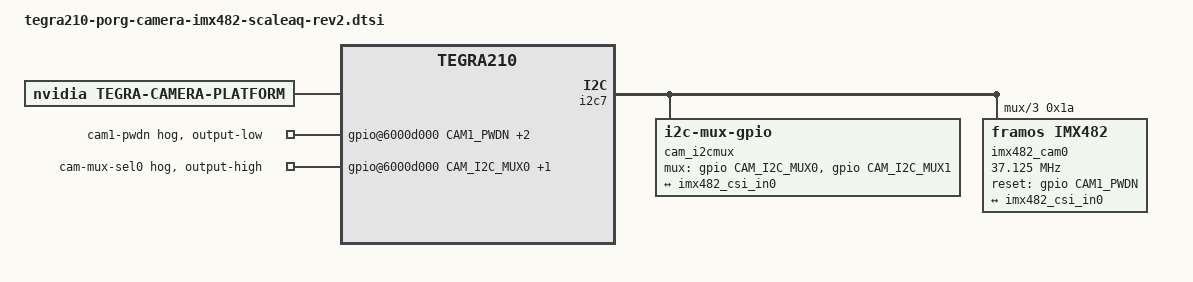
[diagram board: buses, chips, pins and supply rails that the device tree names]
/*
 * tegra210-porg-camera-imx482-scaleaq.dtsi - imx482 sensor device tree for ScaleAQ board
 *
 * Copyright (c) 2021. ScaleAQ. All rights reserved.
 *
 * This program is free software; you can redistribute it and/or modify it
 * under the terms and conditions of the GNU General Public License,
 * version 2, as published by the Free Software Foundation.
 *
 * This program is distributed in the hope it will be useful, but WITHOUT
 * ANY WARRANTY; without even the implied warranty of MERCHANTABILITY or
 * FITNESS FOR A PARTICULAR PURPOSE.  See the GNU General Public License for
 * more details.
 *
 * You should have received a copy of the GNU General Public License
 * along with this program.  If not, see <http://www.gnu.org/licenses/>.
 */

#include "tegra210-camera-imx482-scaleaq.dtsi"
#include <dt-bindings/clock/tegra210-car.h>

#define CAM1_PWDN		TEGRA_GPIO(S, 7)
#define CAM2_PWDN		TEGRA_GPIO(T, 0)
#define CAM3_PWDN		TEGRA_GPIO(I, 2)
#define CAM_I2C_MUX0 TEGRA_GPIO(I, 0) // NFC_EN GPIO
#define CAM_I2C_MUX1 TEGRA_GPIO(I, 1) // NFC_INT GPIO

/ {
	scaleaq,image-sensor-type = "imx482";

	host1x {
		vi_base: vi {
			num-channels = <1>;
			ports {
				#address-cells = <1>;
				#size-cells = <0>;
				vi_port0: port@0 {
					reg = <0>;
					imx482_vi_in0: endpoint {
						port-index = <0>;
						bus-width = <4>;
						remote-endpoint = <&imx482_csi_out0>;
					};
				};
			};
		};

		csi_base: nvcsi {
			num-channels = <1>;
			#address-cells = <1>;
			#size-cells = <0>;
			csi_chan0: channel@0 {
				reg = <0>;
				ports {
					#address-cells = <1>;
					#size-cells = <0>;
					csi_chan0_port0: port@0 {
						reg = <0>;
						imx482_csi_in0: endpoint@0 {
							port-index = <0>;
							bus-width = <4>;
							remote-endpoint = <&imx482_out0>;
						};
					};
					csi_chan0_port1: port@1 {
						reg = <1>;
						imx482_csi_out0: endpoint@1 {
							remote-endpoint = <&imx482_vi_in0>;
						};
					};
				};
			};
		};
	};

	cam_i2cmux {
		compatible = "i2c-mux-gpio";
		#address-cells = <1>;
		#size-cells = <0>;
		mux-gpios = <&gpio CAM_I2C_MUX0 GPIO_ACTIVE_HIGH &gpio CAM_I2C_MUX1 GPIO_ACTIVE_HIGH>;
		i2c-parent = <&i2c7>;

		i2c_0: i2c@0 {
			reg = <3>;
			#address-cells = <1>;
			#size-cells = <0>;

			imx482_cam0: imx482_a@1a {
				compatible = "framos,imx482";
				reg = <0x1a>;

				/* Define any required hw resources needed by driver */
				/* ie. clocks, io pins, power sources */
				clocks = <&tegra_car TEGRA210_CLK_CLK_OUT_3>;
				clock-names = "clk_out_3";
				mclk = "clk_out_3";
				clock-frequency = <37125000>;
				reset-gpios = <&gpio CAM1_PWDN GPIO_ACTIVE_HIGH>;

				devnode = "video0";

				physical_w = "20.00";
				physical_h = "16.80";

				sensor_model ="imx482";

				temperature-addr = <0x48>;

				/* Define any required hw resources needed by driver */
				/* ie. clocks, io pins, power sources */


				/* Defines number of frames to be dropped by driver internally after applying */
				/* sensor crop settings. Some sensors send corrupt frames after applying */
				/* crop co-ordinates */
				post_crop_frame_drop = "0";

				/* Convert Gain to unit of dB (decibel) befor passing to kernel driver */
				use_decibel_gain = "true";

				/* if true, delay gain setting by one frame to be in sync with exposure */
				delayed_gain = "false";

				/* enable CID_SENSOR_MODE_ID for sensor modes selection */
				use_sensor_mode_id = "false";

				/**
				* ==== Modes ====
				* A modeX node is required to support v4l2 driver
				* implementation with NVIDIA camera software stack
				*
				* == Signal properties ==

				*
				* phy_mode = "";
				* PHY mode used by the MIPI lanes for this device
				*
				* tegra_sinterface = "";
				* CSI Serial interface connected to tegra
				* Incase of virtual HW devices, use virtual
				* For SW emulated devices, use host

				*
				* pix_clk_hz = "";
				* Sensor pixel clock used for calculations like exposure and framerate
				*
				* readout_orientation = "0";
				* Based on camera module orientation.
				* Only change readout_orientation if you specifically
				* Program a different readout order for this mode
				*
				* == Image format Properties ==
				*
				* active_w = "";
				* Pixel active region width
				*
				* active_h = "";
				* Pixel active region height
				*
				* pixel_t = "";
				* The sensor readout pixel pattern
				*
				* line_length = "";
				* Pixel line length (width) for sensor mode.
				*
				* == Source Control Settings ==
				*
				* Gain factor used to convert fixed point integer to float
				* Gain range [min_gain/gain_factor, max_gain/gain_factor]
				* Gain step [step_gain/gain_factor is the smallest step that can be configured]
				* Default gain [Default gain to be initialized for the control.
				*     use min_gain_val as default for optimal results]
				* Framerate factor used to convert fixed point integer to float
				* Framerate range [min_framerate/framerate_factor, max_framerate/framerate_factor]
				* Framerate step [step_framerate/framerate_factor is the smallest step that can be configured]
				* Default Framerate [Default framerate to be initialized for the control.
				*     use max_framerate to get required performance]
				* Exposure factor used to convert fixed point integer to float
				* For convenience use 1 sec = 1000000us as conversion factor
				* Exposure range [min_exp_time/exposure_factor, max_exp_time/exposure_factor]
				* Exposure step [step_exp_time/exposure_factor is the smallest step that can be configured]
				* Default Exposure Time [Default exposure to be initialized for the control.
				*     Set default exposure based on the default_framerate for optimal exposure settings]

				*
				* gain_factor = ""; (integer factor used for floating to fixed point conversion)


				* min_gain_val = ""; (ceil to integer)
				* max_gain_val = ""; (ceil to integer)
				* step_gain_val = ""; (ceil to integer)
				* default_gain = ""; (ceil to integer)
				* Gain limits for mode
				*
				* exposure_factor = ""; (integer factor used for floating to fixed point conversion)
				* min_exp_time = ""; (ceil to integer)
				* max_exp_time = ""; (ceil to integer)
				* step_exp_time = ""; (ceil to integer)
				* default_exp_time = ""; (ceil to integer)
				* Exposure Time limits for mode (sec)

				*
				* framerate_factor = ""; (integer factor used for floating to fixed point conversion)
				* min_framerate = ""; (ceil to integer)
				* max_framerate = ""; (ceil to integer)

				* step_framerate = ""; (ceil to integer)
				* default_framerate = ""; (ceil to integer)
				* Framerate limits for mode (fps)
				*
				* embedded_metadata_height = "";
				* Sensor embedded metadata height in units of rows.
				* If sensor does not support embedded metadata value should be 0.
				*/

				mode0 { //
					mclk_khz = "37125";
					num_lanes = "4";
					tegra_sinterface = "serial_a";
					phy_mode = "DPHY";
					discontinuous_clk = "no";
					dpcm_enable = "false";
					cil_settletime = "0";
					active_w = "1932";
					active_h = "1090";

					dynamic_pixel_bit_depth = "12";
					csi_pixel_bit_depth = "12";
					mode_type = "bayer";
					pixel_phase = "rggb";

					readout_orientation = "0";
					line_length = "6600";
					inherent_gain = "1";
					mclk_multiplier = "20.48";
					pix_clk_hz = "760000000";

					gain_factor = "10";
					min_gain_val = "0";
					max_gain_val = "720"; /* 72dB */
					step_gain_val = "3"; /* 0.3 */
					default_gain = "0";
					min_hdr_ratio = "1";
					max_hdr_ratio = "64";
					framerate_factor = "1000000";
					min_framerate = "1500000"; /* 1.5 */
					max_framerate = "90000000"; /* 38 */
					step_framerate = "1";
					default_framerate= "30000000";
					exposure_factor = "1000000";
					min_exp_time = "27";  /* us */
					max_exp_time = "660000"; /* us */
					step_exp_time = "1";
					default_exp_time = "10000";/* us */
					embedded_metadata_height = "1";
				};

				ports {
					#address-cells = <1>;
					#size-cells = <0>;

					port@0 {
						reg = <0>;
						imx482_out0: endpoint {
							port-index = <0>;
							bus-width = <4>;
							remote-endpoint = <&imx482_csi_in0>;
						};
					};
				};
			};
		};
	};
};

/* camera control gpio definitions */
/ {
	tegra-camera-platform {
		compatible = "nvidia, tegra-camera-platform";

		/**
		* Physical settings to calculate max ISO BW
		*
		* num_csi_lanes = <>;
		* Total number of CSI lanes when all cameras are active
		*
		* max_lane_speed = <>;
		* Max lane speed in Kbit/s
		*
		* min_bits_per_pixel = <>;
		* Min bits per pixel
		*
		* vi_peak_byte_per_pixel = <>;
		* Max byte per pixel for the VI ISO case
		*
		* vi_bw_margin_pct = <>;
		* Vi bandwidth margin in percentage
		*
		* max_pixel_rate = <>;
		* Max pixel rate in Kpixel/s for the ISP ISO case
		*
		* isp_peak_byte_per_pixel = <>;
		* Max byte per pixel for the ISP ISO case
		*
		* isp_bw_margin_pct = <>;
		* Isp bandwidth margin in percentage
		*/
		num_csi_lanes = <8>;
		max_lane_speed = <1500000>;
		min_bits_per_pixel = <10>;
		vi_peak_byte_per_pixel = <2>;
		vi_bw_margin_pct = <25>;
		max_pixel_rate = <240000>;
		isp_peak_byte_per_pixel = <5>;
		isp_bw_margin_pct = <25>;

		/**
		 * The general guideline for naming badge_info contains 3 parts, and is as follows,
		 * The first part is the camera_board_id for the module; if the module is in a FFD
		 * platform, then use the platform name for this part.
		 * The second part contains the position of the module, ex. “rear” or “front”.
		 * The third part contains the last 6 characters of a part number which is found
		 * in the module's specsheet from the vender.
		 */
		modules {
			cam_module0: module0 {
				badge = "imx482_front_framos";
				position = "front";
				orientation = "1";
				cam_module0_drivernode0: drivernode0 {
					/* Declare PCL support driver (classically known as guid)  */
					pcl_id = "v4l2_sensor";
					/* Driver v4l2 device name */
					devname = "imx482 7-001a";
					/* Declare the device-tree hierarchy to driver instance */
					proc-device-tree = "/proc/device-tree/cam_i2cmux/i2c@0/imx482_a@1a";
				};
			};
		};
	};

	gpio@6000d000 {
		camera-control-output-low {
			gpio-hog;
			output-low;
			gpios = < CAM1_PWDN 0  CAM2_PWDN 0 CAM3_PWDN 0>;
			label = "cam1-pwdn", "cam2-pwdn", "cam3-pwdn";
		};

		camera-mux-port-0 {
			gpio-hog;
			output-high;
			gpios = <CAM_I2C_MUX0 0 CAM_I2C_MUX1 0>;
			label = "cam-mux-sel0","cam-mux-sel1";
			status = "okay";
		};
	};
};
